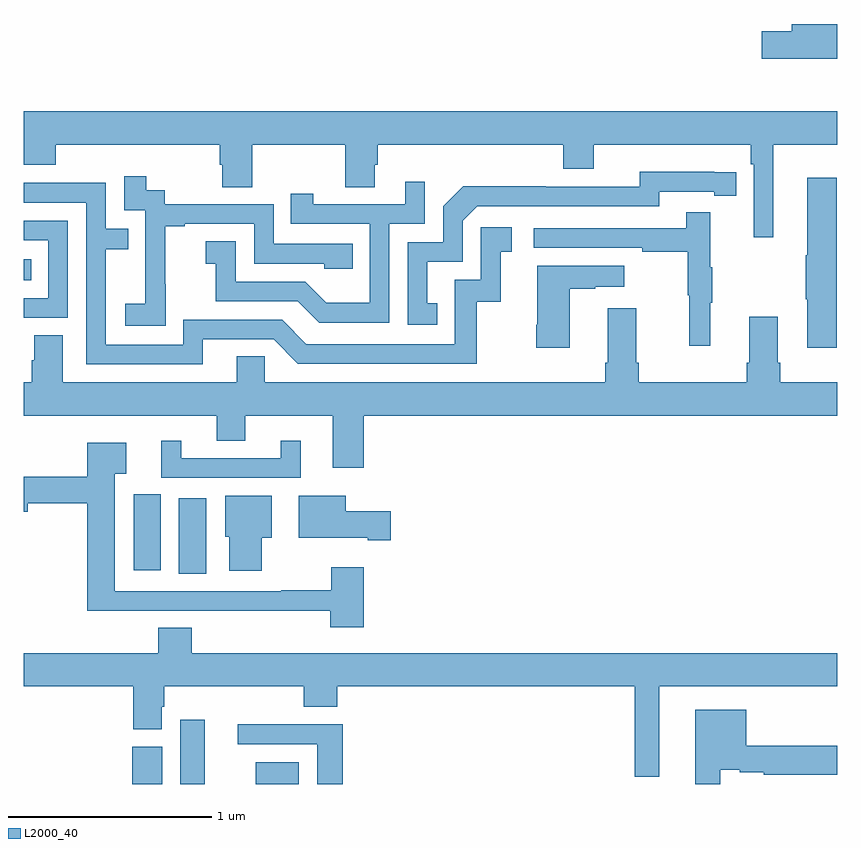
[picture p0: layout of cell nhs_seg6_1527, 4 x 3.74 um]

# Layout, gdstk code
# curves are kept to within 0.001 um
import gdstk
lib = gdstk.Library(unit=1e-6, precision=1e-09)
def R(c, l, rs):  # rectangles x0, y0, x1, y1
    for r in rs: c.add(gdstk.rectangle(r[:2], r[2:], *l))
def P(c, l, *ps):  # polygons
    for p in ps: c.add(gdstk.Polygon(p, *l))
L2000_40 = (2000, 40)

nhs_seg6_1527 = lib.new_cell('nhs_seg6_1527')
R(nhs_seg6_1527, L2000_40, [(203.534,969.5,203.68,969.684), (203.768,969.5,203.89,969.817), (204.14,969.5,204.352,969.607), (203.762,970.534,203.896,970.906), (203.54,970.551,203.674,970.926), (203,971.978,203.036,972.082)])
P(nhs_seg6_1527, L2000_40, [(207,973.238),(206.777,973.238),(206.777,973.202),(206.628,973.202),(206.628,973.067),(207,973.067)],
  [(206.686,972.644),(207,972.644),(207,972.808),(203,972.808),(203,972.545),(203.156,972.545),(203.156,972.644),(203.963,972.644),(203.963,972.546),(203.975,972.546),(203.975,972.436),(204.123,972.436),(204.123,972.644),(204.58,972.644),(204.58,972.436),(204.727,972.436),(204.727,972.546),(204.74,972.546),(204.74,972.644),(205.652,972.644),(205.652,972.527),(205.804,972.527),(205.804,972.644),(206.576,972.644),(206.576,972.548),(206.589,972.548),(206.589,972.189),(206.686,972.189)],
  [(205.034,971.865),(204.985,971.865),(204.985,972.069),(205.158,972.069),(205.158,972.27),(205.23,972.342),(206.124,972.342),(206.124,972.414),(206.396,972.414),(206.396,972.394),(206.504,972.394),(206.504,972.51),(206.028,972.511),(206.028,972.438),(205.568,972.438),(205.568,972.44),(205.16,972.44),(205.062,972.342),(205.062,972.165),(204.888,972.165),(204.888,971.76),(205.034,971.76)],
  [(203.697,971.959),(203.696,971.959),(203.696,972.243),(203.791,972.243),(203.791,972.255),(204.132,972.255),(204.132,972.06),(204.477,972.06),(204.477,972.033),(204.617,972.033),(204.617,972.156),(204.228,972.156),(204.228,972.351),(203.694,972.351),(203.694,972.42),(203.602,972.42),(203.602,972.49),(203.493,972.49),(203.493,972.321),(203.598,972.321),(203.598,972.092),(203.597,972.092),(203.597,971.863),(203.499,971.863),(203.499,971.753),(203.697,971.753)],
  [(206.998,972.481),(206.852,972.481),(206.852,972.101),(206.845,972.101),(206.845,971.884),(206.852,971.884),(206.852,971.646),(206.998,971.646)],
  [(204.798,972.255),(204.972,972.255),(204.972,972.463),(204.875,972.463),(204.875,972.351),(204.424,972.351),(204.424,972.403),(204.313,972.403),(204.313,972.255),(204.702,972.255),(204.702,971.866),(204.488,971.866),(204.384,971.97),(204.042,971.97),(204.042,972.169),(203.895,972.169),(203.895,972.059),(203.944,972.059),(203.944,971.874),(204.347,971.874),(204.452,971.769),(204.798,971.769)],
  [(203.881,971.688),(204.228,971.688),(204.348,971.568),(205.228,971.568),(205.228,971.871),(205.346,971.871),(205.346,972.117),(205.399,972.117),(205.399,972.238),(205.248,972.238),(205.248,971.979),(205.119,971.979),(205.119,971.664),(204.39,971.664),(204.27,971.784),(203.784,971.784),(203.784,971.661),(203.403,971.661),(203.403,972.13),(203.513,972.13),(203.513,972.231),(203.403,972.231),(203.403,972.456),(203,972.456),(203,972.36),(203.307,972.36),(203.307,971.565),(203.881,971.565)],
  [(206.375,971.867),(206.386,971.867),(206.386,972.041),(206.375,972.041),(206.375,972.313),(206.257,972.313),(206.257,972.234),(205.509,972.234),(205.509,972.138),(206.041,972.138),(206.041,972.118),(206.265,972.118),(206.265,971.904),(206.272,971.904),(206.272,971.655),(206.375,971.655)],
  [(203.217,972.27),(203,972.27),(203,972.174),(203.121,972.174),(203.121,971.889),(203,971.889),(203,971.793),(203.217,971.793)],
  [(205.684,971.935),(205.811,971.935),(205.811,971.945),(205.954,971.945),(205.954,972.049),(205.526,972.049),(205.526,971.758),(205.519,971.758),(205.519,971.646),(205.684,971.646)],
  [(204.671,971.312),(207,971.312),(207,971.476),(206.72,971.476),(206.72,971.572),(206.707,971.572),(206.707,971.797),(206.567,971.797),(206.567,971.572),(206.555,971.572),(206.555,971.476),(206.024,971.476),(206.024,971.572),(206.011,971.572),(206.011,971.839),(205.871,971.839),(205.871,971.572),(205.859,971.572),(205.859,971.476),(204.186,971.476),(204.186,971.603),(204.047,971.603),(204.047,971.476),(203.191,971.476),(203.191,971.708),(203.052,971.708),(203.052,971.585),(203.039,971.585),(203.039,971.476),(203,971.476),(203,971.312),(203.948,971.312),(203.948,971.188),(204.088,971.188),(204.088,971.312),(204.518,971.312),(204.518,971.055),(204.671,971.055)],
  [(204.361,971.188),(204.263,971.188),(204.263,971.103),(203.773,971.103),(203.773,971.188),(203.675,971.188),(203.675,971.007),(204.361,971.007)],
  [(204.671,970.567),(204.511,970.567),(204.511,970.454),(204.265,970.454),(204.265,970.449),(203.446,970.449),(203.446,971.027),(203.503,971.027),(203.503,971.179),(203.312,971.179),(203.312,971.011),(203,971.011),(203,970.84),(203.02,970.84),(203.02,970.882),(203.312,970.882),(203.312,970.352),(203.542,970.352),(203.542,970.353),(203.908,970.353),(203.908,970.352),(204.506,970.352),(204.506,970.272),(204.671,970.272)],
  [(204.169,970.712),(204.22,970.712),(204.22,970.918),(203.99,970.918),(203.99,970.716),(204.011,970.716),(204.011,970.548),(204.169,970.548)],
  [(204.805,970.842),(204.583,970.842),(204.583,970.918),(204.353,970.918),(204.353,970.712),(204.692,970.712),(204.692,970.7),(204.805,970.7)],
  [(203.825,970.268),(203.66,970.268),(203.66,970.144),(203,970.144),(203,969.98),(203.537,969.98),(203.537,969.769),(203.677,969.769),(203.677,969.879),(203.69,969.879),(203.69,969.98),(204.377,969.98),(204.377,969.881),(204.542,969.881),(204.542,969.98),(206.004,969.98),(206.004,969.536),(206.125,969.536),(206.125,969.98),(207,969.98),(207,970.144),(203.825,970.144)],
  [(206.425,969.569),(206.522,969.569),(206.522,969.557),(206.64,969.557),(206.64,969.545),(207,969.545),(207,969.687),(206.554,969.687),(206.554,969.865),(206.303,969.865),(206.303,969.5),(206.425,969.5)],
  [(204.569,969.794),(204.051,969.794),(204.051,969.696),(204.443,969.696),(204.443,969.5),(204.569,969.5)])

lib.write_gds('nhs_seg6_1527.gds')
